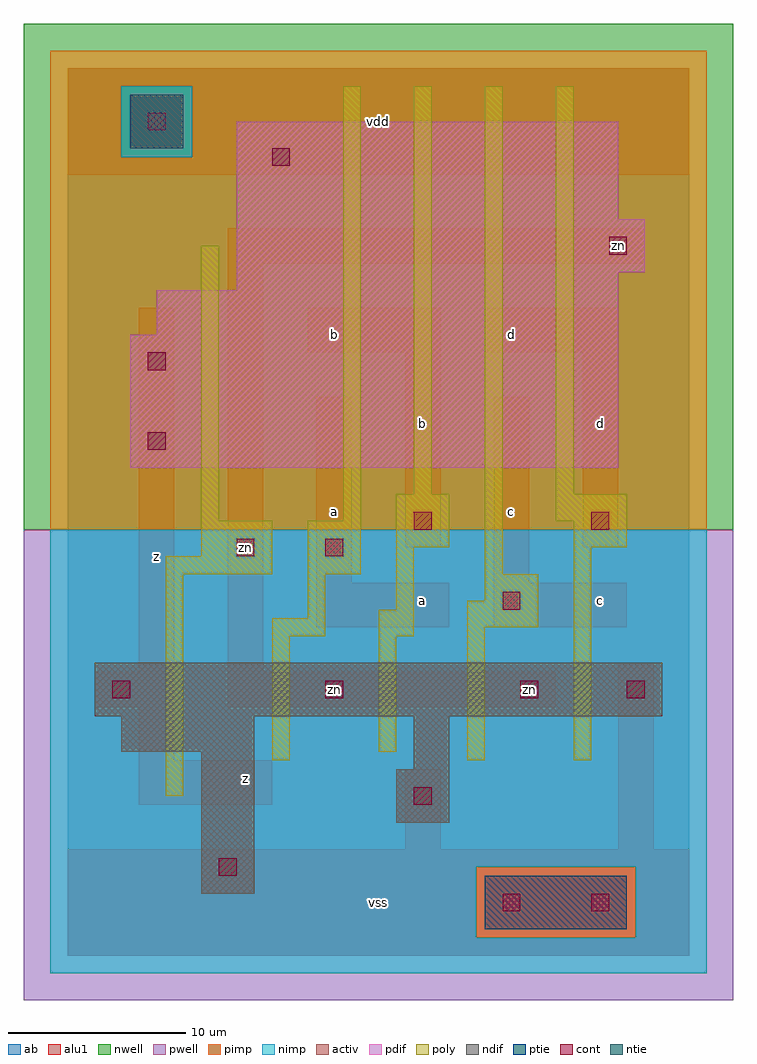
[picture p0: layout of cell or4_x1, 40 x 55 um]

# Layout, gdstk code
import gdstk
lib = gdstk.Library(unit=1e-6, precision=1e-09)
def R(c, l, rs):  # rectangles x0, y0, x1, y1
    for r in rs: c.add(gdstk.rectangle(r[:2], r[2:], *l))
ndif = (3, 0)
pdif = (4, 0)
ntie = (5, 0)
ptie = (6, 0)
cont = (25, 0)
pwell = (41, 0)
nwell = (42, 0)
activ = (43, 0)
pimp = (44, 0)
nimp = (45, 0)
poly = (46, 0)
alu1 = (49, 0)
ab = (63, 0)

or4_x1 = lib.new_cell('or4_x1')
R(or4_x1, ndif, [(7.5,3.5,10.5,11.5), (18.5,7.5,21.5,10.5), (19.5,10.5,21.5,13.5), (3,11.5,10.5,13.5), (1.5,13.5,33.5,16.5)])
R(or4_x1, pdif, [(3.5,27.5,31,35), (5,35,31,37.5), (9.5,37.5,31,38.5), (9.5,38.5,32.5,41.5), (9.5,41.5,31,47)])
R(or4_x1, ntie, [(3.5,45.5,6.5,48.5)])
R(or4_x1, ptie, [(23.5,1.5,31.5,4.5)])
R(or4_x1, cont, [(24.5,2.5,25.5,3.5), (29.5,2.5,30.5,3.5), (8.5,4.5,9.5,5.5), (19.5,8.5,20.5,9.5), (2.5,14.5,3.5,15.5), (14.5,14.5,15.5,15.5), (25.5,14.5,26.5,15.5), (31.5,14.5,32.5,15.5), (24.5,19.5,25.5,20.5), (9.5,22.5,10.5,23.5), (14.5,22.5,15.5,23.5), (19.5,24,20.5,25), (29.5,24,30.5,25), (4.5,28.5,5.5,29.5), (4.5,33,5.5,34), (30.5,39.5,31.5,40.5), (11.5,44.5,12.5,45.5), (4.5,46.5,5.5,47.5)])
R(or4_x1, pwell, [(-2.5,-2.5,37.5,24)])
R(or4_x1, nwell, [(-2.5,24,37.5,52.5)])
R(or4_x1, activ, [(23.5,1.5,31.5,4.5), (7.5,3.5,10.5,11.5), (18.5,7.5,21.5,10.5), (19.5,10.5,21.5,13.5), (3,11.5,10.5,13.5), (1.5,13.5,33.5,16.5), (3.5,27.5,31,35), (5,35,31,37.5), (9.5,37.5,31,38.5), (9.5,38.5,32.5,41.5), (9.5,41.5,31,47), (3.5,45.5,6.5,48.5)])
R(or4_x1, pimp, [(23,1,32,5), (-1,24,36,45), (-1,45,3,49), (7,45,36,49), (-1,49,36,51)])
R(or4_x1, nimp, [(-1,-1,36,1), (-1,1,23,5), (32,1,36,5), (-1,5,36,24), (3,45,7,49)])
R(or4_x1, poly, [(5.5,9,6.5,21.5), (11.5,11,12.5,18), (22.5,11,23.5,18.5), (28.5,11,29.5,23), (17.5,11.5,18.5,18), (11.5,18,14.5,19), (17.5,18,19.5,19.5), (22.5,18.5,26.5,20), (13.5,19,14.5,21.5), (18.5,19.5,19.5,23), (23.5,20,26.5,21.5), (5.5,21.5,11.5,22.5), (13.5,21.5,16.5,24.5), (23.5,21.5,24.5,49), (7.5,22.5,11.5,24.5), (18.5,23,21.5,26), (28.5,23,31.5,24.5), (7.5,24.5,8.5,40), (15.5,24.5,16.5,49), (27.5,24.5,31.5,26), (19.5,26,20.5,49), (27.5,26,28.5,49)])
R(or4_x1, alu1, [(0,0,35,6), (0,0,35,6), (19,6,21,10.5), (19,6,21,10.5), (31,6,33,16.5), (31,6,33,16.5), (4,8.5,11.5,11), (4,8.5,11.5,11), (4,11,6,14), (4,11,6,14), (1.5,14,6,16), (1.5,14,6,16), (9,14,27.5,16), (9,14,27.5,16), (4,16,6,36.5), (4,16,6,36.5), (9,16,11,39), (9,16,11,39), (14,18.5,21.5,21), (14,18.5,21.5,21), (24,18.5,31.5,21), (24,18.5,31.5,21), (14,21,16,31.5), (14,21,16,31.5), (24,21,26,31.5), (24,21,26,31.5), (19,23,21,34), (19,23,21,34), (29,23,31,34), (29,23,31,34), (13.5,34,21,36.5), (13.5,34,21,36.5), (23.5,34,31,36.5), (23.5,34,31,36.5), (9,39,32.5,41), (9,39,32.5,41), (0,44,35,50), (0,44,35,50)])
R(or4_x1, ab, [(0,0,35,50)])
or4_x1.add(gdstk.Label('zn', (10,23), layer=49, texttype=0))
or4_x1.add(gdstk.Label('zn', (15,15), layer=49, texttype=0))
or4_x1.add(gdstk.Label('zn', (26,15), layer=49, texttype=0))
or4_x1.add(gdstk.Label('zn', (31,40), layer=49, texttype=0))
or4_x1.add(gdstk.Label('z', (5,22.5), layer=49, texttype=0))
or4_x1.add(gdstk.Label('z', (10,10), layer=49, texttype=0))
or4_x1.add(gdstk.Label('a', (15,25), layer=49, texttype=0))
or4_x1.add(gdstk.Label('b', (15,35), layer=49, texttype=0))
or4_x1.add(gdstk.Label('vss', (17.5,3), layer=49, texttype=0))
or4_x1.add(gdstk.Label('a', (20,20), layer=49, texttype=0))
or4_x1.add(gdstk.Label('c', (25,25), layer=49, texttype=0))
or4_x1.add(gdstk.Label('d', (25,35), layer=49, texttype=0))
or4_x1.add(gdstk.Label('b', (20,30), layer=49, texttype=0))
or4_x1.add(gdstk.Label('vdd', (17.5,47), layer=49, texttype=0))
or4_x1.add(gdstk.Label('c', (30,20), layer=49, texttype=0))
or4_x1.add(gdstk.Label('d', (30,30), layer=49, texttype=0))

lib.write_gds('or4_x1.gds')
